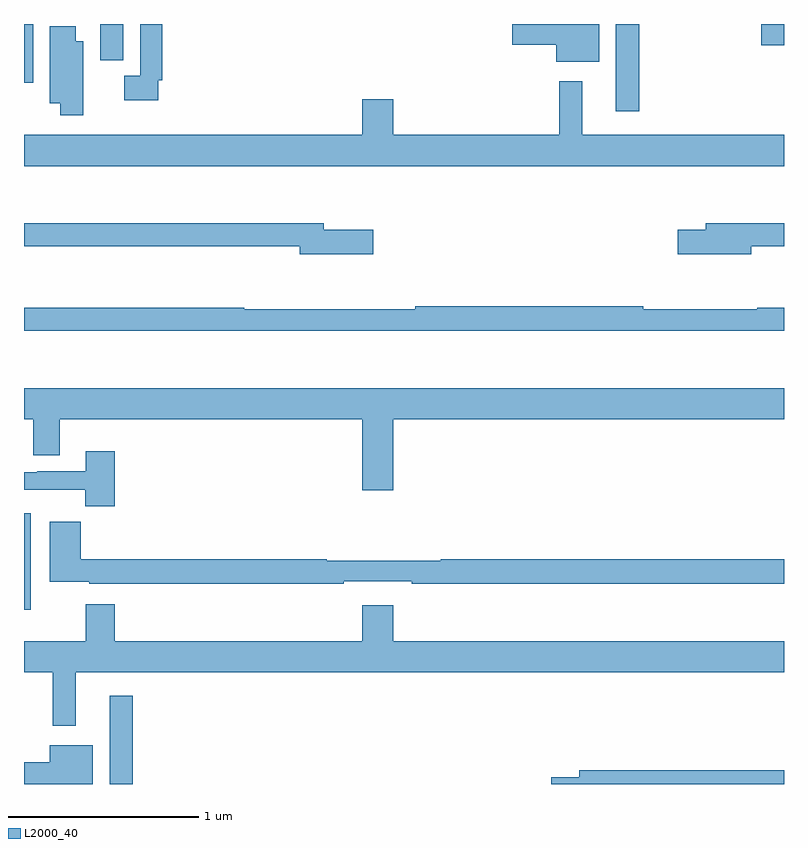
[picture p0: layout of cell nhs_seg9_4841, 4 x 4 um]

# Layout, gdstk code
import gdstk
lib = gdstk.Library(unit=1e-6, precision=1e-09)
def R(c, l, rs):  # rectangles x0, y0, x1, y1
    for r in rs: c.add(gdstk.rectangle(r[:2], r[2:], *l))
def P(c, l, *ps):  # polygons
    for p in ps: c.add(gdstk.Polygon(p, *l))
L2000_40 = (2000, 40)

nhs_seg9_4841 = lib.new_cell('nhs_seg9_4841')
R(nhs_seg9_4841, L2000_40, [(391.451,1194.5,391.573,1194.964), (391,1195.416,391.036,1195.924), (394.115,1198.041,394.237,1198.5), (391,1198.19,391.048,1198.5), (391.4,1198.309,391.522,1198.5), (394.88,1198.389,395,1198.5)])
P(nhs_seg9_4841, L2000_40, [(394.027,1198.5),(393.57,1198.5),(393.57,1198.39),(393.8,1198.39),(393.8,1198.301),(394.027,1198.301)],
  [(391.707,1198.204),(391.727,1198.204),(391.727,1198.5),(391.611,1198.5),(391.611,1198.228),(391.528,1198.228),(391.528,1198.1),(391.707,1198.1)],
  [(391.312,1198.408),(391.273,1198.408),(391.273,1198.489),(391.136,1198.489),(391.136,1198.082),(391.19,1198.082),(391.19,1198.02),(391.312,1198.02)],
  [(395,1197.916),(393.937,1197.916),(393.937,1198.198),(393.816,1198.198),(393.816,1197.916),(392.944,1197.916),(392.944,1198.105),(392.78,1198.105),(392.78,1197.916),(391,1197.916),(391,1197.752),(395,1197.752)],
  [(392.839,1197.417),(392.578,1197.417),(392.578,1197.451),(391,1197.451),(391,1197.33),(392.45,1197.33),(392.45,1197.287),(392.839,1197.287)],
  [(394.828,1197.33),(395,1197.33),(395,1197.451),(394.589,1197.451),(394.589,1197.417),(394.44,1197.417),(394.44,1197.287),(394.828,1197.287)],
  [(395,1197.007),(394.858,1197.007),(394.858,1196.999),(394.258,1196.999),(394.258,1197.014),(393.058,1197.014),(393.058,1196.999),(392.158,1196.999),(392.158,1197.007),(391,1197.007),(391,1196.886),(395,1196.886)],
  [(392.944,1196.42),(395,1196.42),(395,1196.584),(391,1196.584),(391,1196.42),(391.049,1196.42),(391.049,1196.23),(391.189,1196.23),(391.189,1196.42),(392.78,1196.42),(392.78,1196.046),(392.944,1196.046)],
  [(391.478,1196.251),(391.325,1196.251),(391.325,1196.145),(391.069,1196.145),(391.069,1196.142),(391,1196.142),(391,1196.048),(391.323,1196.048),(391.323,1195.961),(391.478,1195.961)],
  [(392.684,1195.566),(393.04,1195.566),(393.04,1195.554),(395,1195.554),(395,1195.682),(393.194,1195.682),(393.194,1195.675),(392.594,1195.675),(392.594,1195.682),(391.298,1195.682),(391.298,1195.879),(391.136,1195.879),(391.136,1195.565),(391.344,1195.565),(391.344,1195.554),(392.684,1195.554)],
  [(391.273,1195.088),(395,1195.088),(395,1195.252),(392.944,1195.252),(392.944,1195.441),(392.78,1195.441),(392.78,1195.252),(391.478,1195.252),(391.478,1195.447),(391.325,1195.447),(391.325,1195.252),(391,1195.252),(391,1195.088),(391.152,1195.088),(391.152,1194.807),(391.273,1194.807)],
  [(391.363,1194.703),(391.136,1194.703),(391.136,1194.615),(391,1194.615),(391,1194.5),(391.363,1194.5)],
  [(395,1194.572),(393.923,1194.572),(393.923,1194.536),(393.774,1194.536),(393.774,1194.5),(395,1194.5)])

lib.write_gds('nhs_seg9_4841.gds')
